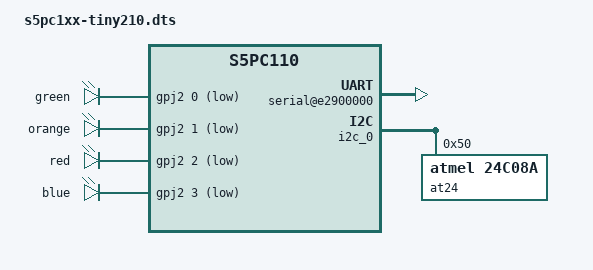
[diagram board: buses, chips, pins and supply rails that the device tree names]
// SPDX-License-Identifier: GPL-2.0+
/*
 * Samsung's Exynos4210-based SMDKV310 board device tree source
 *
 * Copyright (c) 2014 Google, Inc
 */

/dts-v1/;

#include "skeleton.dtsi"
#include "s5pc110-pinctrl.dtsi"


/ {
	aliases {
		u-boot,dm-pre-reloc;
		console = "/serial@e29000000";
		i2c0 = &i2c_0;
	};

	serial@e2900000 {
		u-boot,dm-pre-reloc;
		compatible = "samsung,exynos4210-uart";
		reg = <0xe2900000 0x100>;
		interrupts = <0 51 0>;
		id = <0>;
	};

	pinctrl0: pinctrl@e0200000 {
                compatible = "samsung,s5pc110-pinctrl";
                reg = <0xe0200000 0x1000>;
        };

	leds {
                compatible = "gpio-leds";
                green {
			label = "green";
                        gpios = <&gpj2 0 1>;
                        linux,default-trigger = "heartbeat";
                };
                orange {
			label = "orange";
                        gpios = <&gpj2 1 1>;
                };
                red {
			label = "red";
                        gpios = <&gpj2 2 1>;
                };
                blue {
			label = "blue";
                        gpios = <&gpj2 3 1>;
                };
        };
	i2c_0: i2c@e1800000 {
                compatible = "samsung,s3c2440-i2c";
                #address-cells = <1>;
                #size-cells = <0>;
                reg = <0xe1800000 0x100>;
		at24@50 {
			compatible = "atmel,24c08a";
			reg = <0x50>;
		};

        };


	demo0 {
		compatible = "demo-simple";
		sides = <5>;
		colour = "red";
	};
};
